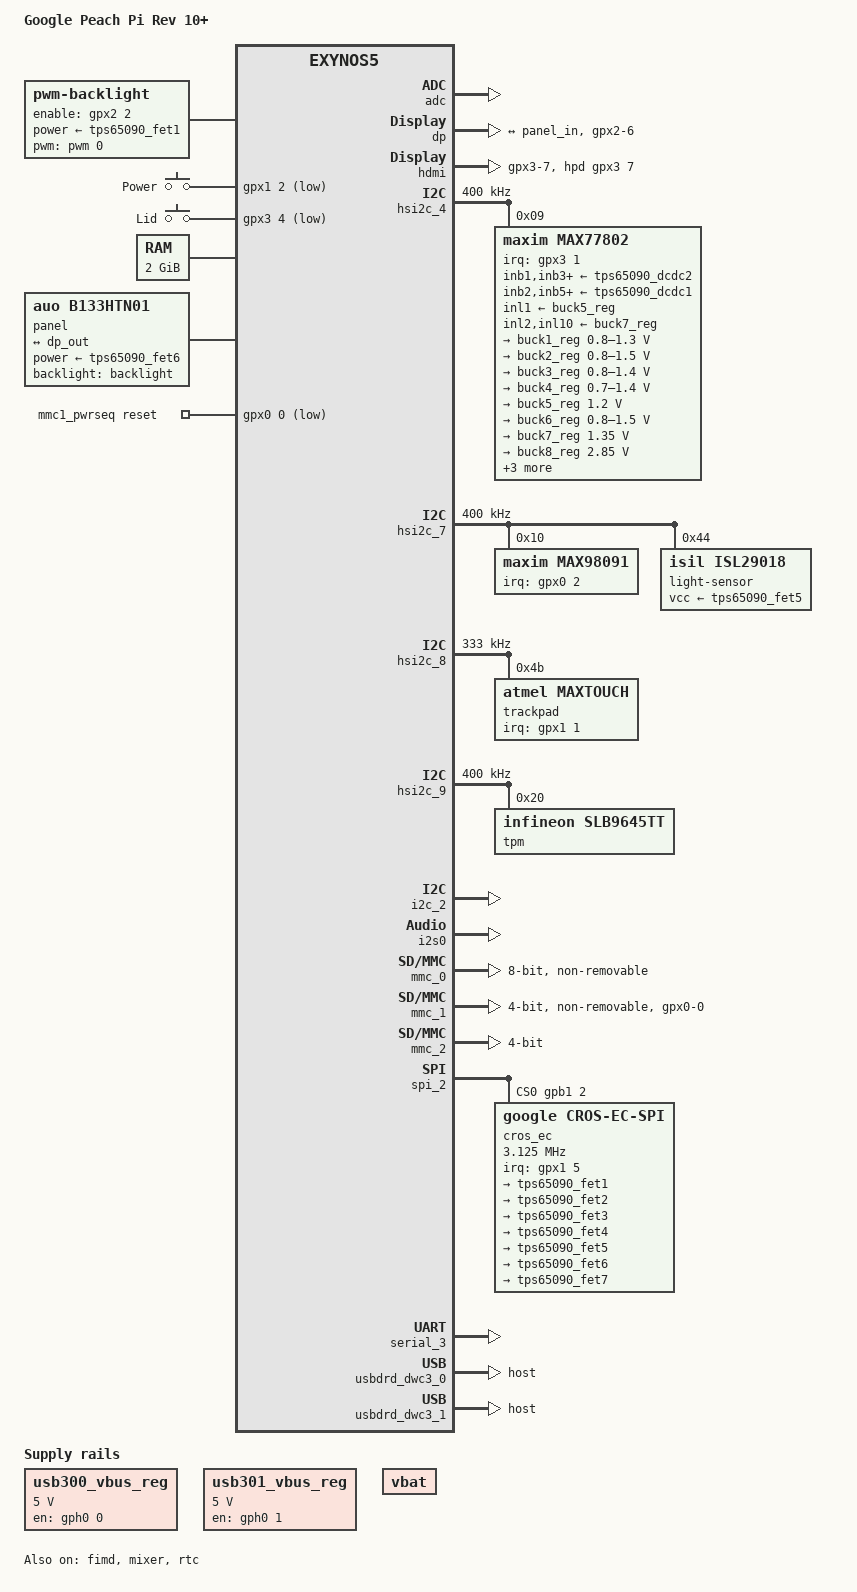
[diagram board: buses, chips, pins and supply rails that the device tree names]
// SPDX-License-Identifier: GPL-2.0
/*
 * Google Peach Pi Rev 10+ board device tree source
 *
 * Copyright (c) 2014 Google, Inc
 */

/dts-v1/;
#include <dt-bindings/input/input.h>
#include <dt-bindings/gpio/gpio.h>
#include <dt-bindings/interrupt-controller/irq.h>
#include <dt-bindings/clock/maxim,max77802.h>
#include <dt-bindings/regulator/maxim,max77802.h>
#include <dt-bindings/sound/samsung-i2s.h>
#include "exynos5800.dtsi"
#include "exynos5420-cpus.dtsi"

/ {
	model = "Google Peach Pi Rev 10+";

	compatible = "google,pi-rev16",
		"google,pi-rev15", "google,pi-rev14",
		"google,pi-rev13", "google,pi-rev12",
		"google,pi-rev11", "google,pi-rev10",
		"google,pi", "google,peach", "samsung,exynos5800",
		"samsung,exynos5";
	chassis-type = "laptop";

	aliases {
		/* Assign 20 so we don't get confused w/ builtin ones */
		i2c20 = &i2c_tunnel;
	};

	backlight: backlight {
		compatible = "pwm-backlight";
		pwms = <&pwm 0 1000000 0>;
		brightness-levels = <0 100 500 1000 1500 2000 2500 2800>;
		default-brightness-level = <7>;
		enable-gpios = <&gpx2 2 GPIO_ACTIVE_HIGH>;
		power-supply = <&tps65090_fet1>;
		pinctrl-0 = <&pwm0_out>;
		pinctrl-names = "default";
	};

	chosen {
		stdout-path = "serial3:115200n8";
	};

	fixed-rate-clocks {
		oscclk {
			compatible = "samsung,exynos5420-oscclk";
			clock-frequency = <24000000>;
		};
	};

	gpio-keys {
		compatible = "gpio-keys";

		pinctrl-names = "default";
		pinctrl-0 = <&power_key_irq &lid_irq>;

		power {
			label = "Power";
			gpios = <&gpx1 2 GPIO_ACTIVE_LOW>;
			linux,code = <KEY_POWER>;
			wakeup-source;
		};

		lid-switch {
			label = "Lid";
			gpios = <&gpx3 4 GPIO_ACTIVE_LOW>;
			linux,input-type = <5>; /* EV_SW */
			linux,code = <0>; /* SW_LID */
			debounce-interval = <1>;
			wakeup-source;
		};

	};

	memory@20000000 {
		device_type = "memory";
		reg = <0x20000000 0x80000000>;
	};

	sound {
		compatible = "google,snow-audio-max98091";

		samsung,model = "Peach-Pi-I2S-MAX98091";
		samsung,i2s-controller = <&i2s0>;
		samsung,audio-codec = <&max98091>;

		cpu {
			sound-dai = <&i2s0 0>;
		};

		codec {
			sound-dai = <&max98091>, <&hdmi>;
		};
	};

	usb300_vbus_reg: regulator-usb300 {
		compatible = "regulator-fixed";
		regulator-name = "P5.0V_USB3CON0";
		regulator-min-microvolt = <5000000>;
		regulator-max-microvolt = <5000000>;
		gpio = <&gph0 0 GPIO_ACTIVE_HIGH>;
		pinctrl-names = "default";
		pinctrl-0 = <&usb300_vbus_en>;
		enable-active-high;
	};

	usb301_vbus_reg: regulator-usb301 {
		compatible = "regulator-fixed";
		regulator-name = "P5.0V_USB3CON1";
		regulator-min-microvolt = <5000000>;
		regulator-max-microvolt = <5000000>;
		gpio = <&gph0 1 GPIO_ACTIVE_HIGH>;
		pinctrl-names = "default";
		pinctrl-0 = <&usb301_vbus_en>;
		enable-active-high;
	};

	vbat: fixed-regulator {
		compatible = "regulator-fixed";
		regulator-name = "vbat-supply";
		regulator-boot-on;
		regulator-always-on;
	};

	panel: panel {
		compatible = "auo,b133htn01";
		power-supply = <&tps65090_fet6>;
		backlight = <&backlight>;

		port {
			panel_in: endpoint {
				remote-endpoint = <&dp_out>;
			};
		};
	};

	mmc1_pwrseq: mmc1-pwrseq {
		compatible = "mmc-pwrseq-simple";
		reset-gpios = <&gpx0 0 GPIO_ACTIVE_LOW>; /* WIFI_EN */
		clocks = <&max77802 MAX77802_CLK_32K_CP>;
		clock-names = "ext_clock";
	};
};

&adc {
	status = "okay";
	vdd-supply = <&ldo9_reg>;
};

&clock_audss {
	assigned-clocks = <&clock_audss EXYNOS_MOUT_AUDSS>;
	assigned-clock-parents = <&clock CLK_MAU_EPLL>;
};

/*
 * Peach Pi board uses SoC revision with lower maximum frequency for A7 cores
 * (1.3 GHz instead of 1.4 GHz) than Odroid XU3/XU4 boards.  Thus we need to
 * update A7 OPPs table accordingly.
 */
&cluster_a7_opp_table {
	/delete-node/opp-1400000000;
};

&cpu0 {
	cpu-supply = <&buck2_reg>;
};

&cpu4 {
	cpu-supply = <&buck6_reg>;
};

&dp {
	status = "okay";
	pinctrl-names = "default";
	pinctrl-0 = <&dp_hpd_gpio>;
	samsung,color-space = <0>;
	samsung,color-depth = <1>;
	samsung,link-rate = <0x0a>;
	samsung,lane-count = <2>;
	samsung,hpd-gpio = <&gpx2 6 GPIO_ACTIVE_HIGH>;

	ports {
		port {
			dp_out: endpoint {
				remote-endpoint = <&panel_in>;
			};
		};
	};
};

&fimd {
	status = "okay";
	samsung,invert-vclk;
};

&hdmi {
	status = "okay";
	hpd-gpios = <&gpx3 7 GPIO_ACTIVE_HIGH>;
	pinctrl-names = "default";
	pinctrl-0 = <&hdmi_hpd_irq>;
	ddc = <&i2c_2>;

	hdmi-en-supply = <&tps65090_fet7>;
	vdd-supply = <&ldo8_reg>;
	vdd_osc-supply = <&ldo10_reg>;
	vdd_pll-supply = <&ldo8_reg>;
};

&hsi2c_4 {
	status = "okay";
	clock-frequency = <400000>;

	max77802: pmic@9 {
		compatible = "maxim,max77802";
		interrupt-parent = <&gpx3>;
		interrupts = <1 IRQ_TYPE_NONE>;
		pinctrl-names = "default";
		pinctrl-0 = <&max77802_irq>, <&pmic_selb>,
			    <&pmic_dvs_1>, <&pmic_dvs_2>;
		wakeup-source;
		reg = <0x9>;
		#clock-cells = <1>;

		inb1-supply = <&tps65090_dcdc2>;
		inb2-supply = <&tps65090_dcdc1>;
		inb3-supply = <&tps65090_dcdc2>;
		inb4-supply = <&tps65090_dcdc2>;
		inb5-supply = <&tps65090_dcdc1>;
		inb6-supply = <&tps65090_dcdc2>;
		inb7-supply = <&tps65090_dcdc1>;
		inb8-supply = <&tps65090_dcdc1>;
		inb9-supply = <&tps65090_dcdc1>;
		inb10-supply = <&tps65090_dcdc1>;

		inl1-supply = <&buck5_reg>;
		inl2-supply = <&buck7_reg>;
		inl3-supply = <&buck9_reg>;
		inl4-supply = <&buck9_reg>;
		inl5-supply = <&buck9_reg>;
		inl6-supply = <&tps65090_dcdc2>;
		inl7-supply = <&buck9_reg>;
		inl9-supply = <&tps65090_dcdc2>;
		inl10-supply = <&buck7_reg>;

		regulators {
			buck1_reg: BUCK1 {
				regulator-name = "vdd_mif";
				regulator-min-microvolt = <800000>;
				regulator-max-microvolt = <1300000>;
				regulator-always-on;
				regulator-boot-on;
				regulator-ramp-delay = <12500>;
				regulator-state-mem {
					regulator-off-in-suspend;
				};
			};

			buck2_reg: BUCK2 {
				regulator-name = "vdd_arm";
				regulator-min-microvolt = <800000>;
				regulator-max-microvolt = <1500000>;
				regulator-always-on;
				regulator-boot-on;
				regulator-ramp-delay = <12500>;
				regulator-coupled-with = <&buck3_reg>;
				regulator-coupled-max-spread = <300000>;
				regulator-state-mem {
					regulator-off-in-suspend;
				};
			};

			buck3_reg: BUCK3 {
				regulator-name = "vdd_int";
				regulator-min-microvolt = <800000>;
				regulator-max-microvolt = <1400000>;
				regulator-always-on;
				regulator-boot-on;
				regulator-ramp-delay = <12500>;
				regulator-coupled-with = <&buck2_reg>;
				regulator-coupled-max-spread = <300000>;
				regulator-state-mem {
					regulator-off-in-suspend;
				};
			};

			buck4_reg: BUCK4 {
				regulator-name = "vdd_g3d";
				regulator-min-microvolt = <700000>;
				regulator-max-microvolt = <1400000>;
				regulator-always-on;
				regulator-boot-on;
				regulator-ramp-delay = <12500>;
				regulator-state-mem {
					regulator-off-in-suspend;
				};
			};

			buck5_reg: BUCK5 {
				regulator-name = "vdd_1v2";
				regulator-min-microvolt = <1200000>;
				regulator-max-microvolt = <1200000>;
				regulator-boot-on;
				regulator-state-mem {
					regulator-off-in-suspend;
				};
			};

			buck6_reg: BUCK6 {
				regulator-name = "vdd_kfc";
				regulator-min-microvolt = <800000>;
				regulator-max-microvolt = <1500000>;
				regulator-always-on;
				regulator-boot-on;
				regulator-ramp-delay = <12500>;
				regulator-state-mem {
					regulator-off-in-suspend;
				};
			};

			buck7_reg: BUCK7 {
				regulator-name = "vdd_1v35";
				regulator-min-microvolt = <1350000>;
				regulator-max-microvolt = <1350000>;
				regulator-always-on;
				regulator-boot-on;
				regulator-state-mem {
					regulator-on-in-suspend;
				};
			};

			buck8_reg: BUCK8 {
				regulator-name = "vdd_emmc";
				regulator-min-microvolt = <2850000>;
				regulator-max-microvolt = <2850000>;
				regulator-always-on;
				regulator-boot-on;
				regulator-state-mem {
					regulator-off-in-suspend;
				};
			};

			buck9_reg: BUCK9 {
				regulator-name = "vdd_2v";
				regulator-min-microvolt = <2000000>;
				regulator-max-microvolt = <2000000>;
				regulator-always-on;
				regulator-boot-on;
				regulator-state-mem {
					regulator-on-in-suspend;
				};
			};

			buck10_reg: BUCK10 {
				regulator-name = "vdd_1v8";
				regulator-min-microvolt = <1800000>;
				regulator-max-microvolt = <1800000>;
				regulator-always-on;
				regulator-boot-on;
				regulator-state-mem {
					regulator-on-in-suspend;
				};
			};

			ldo1_reg: LDO1 {
				regulator-name = "vdd_1v0";
				regulator-min-microvolt = <1000000>;
				regulator-max-microvolt = <1000000>;
				regulator-always-on;
				regulator-state-mem {
					regulator-on-in-suspend;
					regulator-mode = <MAX77802_OPMODE_LP>;
				};
			};

			ldo2_reg: LDO2 {
				regulator-name = "vdd_1v2_2";
				regulator-min-microvolt = <1200000>;
				regulator-max-microvolt = <1200000>;
			};

			ldo3_reg: LDO3 {
				regulator-name = "vdd_1v8_3";
				regulator-min-microvolt = <1800000>;
				regulator-max-microvolt = <1800000>;
				regulator-always-on;
				regulator-state-mem {
					regulator-on-in-suspend;
					regulator-mode = <MAX77802_OPMODE_LP>;
				};
			};

			vqmmc_sdcard: ldo4_reg: LDO4 {
				regulator-name = "vdd_sd";
				regulator-min-microvolt = <1800000>;
				regulator-max-microvolt = <2800000>;
				regulator-always-on;
				regulator-state-mem {
					regulator-off-in-suspend;
				};
			};

			ldo5_reg: LDO5 {
				regulator-name = "vdd_1v8_5";
				regulator-min-microvolt = <1800000>;
				regulator-max-microvolt = <1800000>;
				regulator-always-on;
				regulator-state-mem {
					regulator-off-in-suspend;
				};
			};

			ldo6_reg: LDO6 {
				regulator-name = "vdd_1v8_6";
				regulator-min-microvolt = <1800000>;
				regulator-max-microvolt = <1800000>;
				regulator-always-on;
				regulator-state-mem {
					regulator-off-in-suspend;
				};
			};

			ldo7_reg: LDO7 {
				regulator-name = "vdd_1v8_7";
				regulator-min-microvolt = <1800000>;
				regulator-max-microvolt = <1800000>;
			};

			ldo8_reg: LDO8 {
				regulator-name = "vdd_ldo8";
				regulator-min-microvolt = <1000000>;
				regulator-max-microvolt = <1000000>;
				regulator-always-on;
				regulator-state-mem {
					regulator-off-in-suspend;
				};
			};

			ldo9_reg: LDO9 {
				regulator-name = "vdd_ldo9";
				regulator-min-microvolt = <1800000>;
				regulator-max-microvolt = <1800000>;
				regulator-state-mem {
					regulator-on-in-suspend;
					regulator-mode = <MAX77802_OPMODE_LP>;
				};
			};

			ldo10_reg: LDO10 {
				regulator-name = "vdd_ldo10";
				regulator-min-microvolt = <1800000>;
				regulator-max-microvolt = <1800000>;
				regulator-always-on;
				regulator-state-mem {
					regulator-off-in-suspend;
				};
			};

			ldo11_reg: LDO11 {
				regulator-name = "vdd_ldo11";
				regulator-min-microvolt = <1800000>;
				regulator-max-microvolt = <1800000>;
				regulator-always-on;
				regulator-state-mem {
					regulator-on-in-suspend;
					regulator-mode = <MAX77802_OPMODE_LP>;
				};
			};

			ldo12_reg: LDO12 {
				regulator-name = "vdd_ldo12";
				regulator-min-microvolt = <3000000>;
				regulator-max-microvolt = <3000000>;
				regulator-always-on;
				regulator-state-mem {
					regulator-off-in-suspend;
				};
			};

			ldo13_reg: LDO13 {
				regulator-name = "vdd_ldo13";
				regulator-min-microvolt = <1800000>;
				regulator-max-microvolt = <1800000>;
				regulator-always-on;
				regulator-state-mem {
					regulator-on-in-suspend;
					regulator-mode = <MAX77802_OPMODE_LP>;
				};
			};

			ldo14_reg: LDO14 {
				regulator-name = "vdd_ldo14";
				regulator-min-microvolt = <1800000>;
				regulator-max-microvolt = <1800000>;
				regulator-always-on;
				regulator-state-mem {
					regulator-off-in-suspend;
				};
			};

			ldo15_reg: LDO15 {
				regulator-name = "vdd_ldo15";
				regulator-min-microvolt = <1000000>;
				regulator-max-microvolt = <1000000>;
				regulator-always-on;
				regulator-state-mem {
					regulator-off-in-suspend;
				};
			};

			ldo17_reg: LDO17 {
				regulator-name = "vdd_g3ds";
				regulator-min-microvolt = <900000>;
				regulator-max-microvolt = <1400000>;
				regulator-always-on;
				regulator-state-mem {
					regulator-off-in-suspend;
				};
			};

			ldo18_reg: LDO18 {
				regulator-name = "ldo_18";
				regulator-min-microvolt = <1800000>;
				regulator-max-microvolt = <1800000>;
			};

			ldo19_reg: LDO19 {
				regulator-name = "ldo_19";
				regulator-min-microvolt = <1800000>;
				regulator-max-microvolt = <1800000>;
			};

			ldo20_reg: LDO20 {
				regulator-name = "ldo_20";
				regulator-min-microvolt = <1800000>;
				regulator-max-microvolt = <1800000>;
				regulator-always-on;
			};

			ldo21_reg: LDO21 {
				regulator-name = "ldo_21";
				regulator-min-microvolt = <2800000>;
				regulator-max-microvolt = <2800000>;
			};

			ldo23_reg: LDO23 {
				regulator-name = "ldo_23";
				regulator-min-microvolt = <3300000>;
				regulator-max-microvolt = <3300000>;
			};
			ldo24_reg: LDO24 {
				regulator-name = "ldo_24";
				regulator-min-microvolt = <2800000>;
				regulator-max-microvolt = <2800000>;
			};

			ldo25_reg: LDO25 {
				regulator-name = "ldo_25";
				regulator-min-microvolt = <3300000>;
				regulator-max-microvolt = <3300000>;
			};

			ldo26_reg: LDO26 {
				regulator-name = "ldo_26";
				regulator-min-microvolt = <1200000>;
				regulator-max-microvolt = <1200000>;
			};

			ldo27_reg: LDO27 {
				regulator-name = "ldo_27";
				regulator-min-microvolt = <1200000>;
				regulator-max-microvolt = <1200000>;
			};

			ldo28_reg: LDO28 {
				regulator-name = "ldo_28";
				regulator-min-microvolt = <1800000>;
				regulator-max-microvolt = <1800000>;
			};

			ldo29_reg: LDO29 {
				regulator-name = "ldo_29";
				regulator-min-microvolt = <1800000>;
				regulator-max-microvolt = <1800000>;
			};

			ldo30_reg: LDO30 {
				regulator-name = "vdd_mifs";
				regulator-min-microvolt = <1000000>;
				regulator-max-microvolt = <1000000>;
				regulator-always-on;
				regulator-state-mem {
					regulator-off-in-suspend;
				};
			};

			ldo32_reg: LDO32 {
				regulator-name = "ldo_32";
				regulator-min-microvolt = <3000000>;
				regulator-max-microvolt = <3000000>;
			};

			ldo33_reg: LDO33 {
				regulator-name = "ldo_33";
				regulator-min-microvolt = <2800000>;
				regulator-max-microvolt = <2800000>;
			};

			ldo34_reg: LDO34 {
				regulator-name = "ldo_34";
				regulator-min-microvolt = <3000000>;
				regulator-max-microvolt = <3000000>;
			};

			ldo35_reg: LDO35 {
				regulator-name = "ldo_35";
				regulator-min-microvolt = <1200000>;
				regulator-max-microvolt = <1200000>;
			};
		};
	};
};

&hsi2c_7 {
	status = "okay";
	clock-frequency = <400000>;

	max98091: codec@10 {
		compatible = "maxim,max98091";
		reg = <0x10>;
		interrupts = <2 IRQ_TYPE_NONE>;
		interrupt-parent = <&gpx0>;
		pinctrl-names = "default";
		pinctrl-0 = <&max98091_irq>;
		clocks = <&pmu_system_controller 0>;
		clock-names = "mclk";
		#sound-dai-cells = <0>;
	};

	light-sensor@44 {
		compatible = "isil,isl29018";
		reg = <0x44>;
		vcc-supply = <&tps65090_fet5>;
	};
};

&hsi2c_8 {
	status = "okay";
	clock-frequency = <333000>;
	/* Atmel mXT540S */
	trackpad@4b {
		compatible = "atmel,maxtouch";
		reg = <0x4b>;
		interrupt-parent = <&gpx1>;
		interrupts = <1 IRQ_TYPE_EDGE_FALLING>;
		wakeup-source;
		pinctrl-names = "default";
		pinctrl-0 = <&trackpad_irq>;
		linux,gpio-keymap = <KEY_RESERVED
				     KEY_RESERVED
				     KEY_RESERVED	/* GPIO 0 */
				     KEY_RESERVED	/* GPIO 1 */
				     BTN_LEFT		/* GPIO 2 */
				     KEY_RESERVED>;	/* GPIO 3 */
	};
};

&hsi2c_9 {
	status = "okay";
	clock-frequency = <400000>;

	tpm@20 {
		compatible = "infineon,slb9645tt";
		reg = <0x20>;

		/* Unused irq; but still need to configure the pins */
		pinctrl-names = "default";
		pinctrl-0 = <&tpm_irq>;
	};
};

&i2c_2 {
	status = "okay";
	samsung,i2c-sda-delay = <100>;
	samsung,i2c-max-bus-freq = <66000>;
	samsung,i2c-slave-addr = <0x50>;
};

&i2s0 {
	assigned-clocks = <&i2s0 CLK_I2S_RCLK_SRC>;
	assigned-clock-parents = <&clock_audss EXYNOS_I2S_BUS>;
	status = "okay";
};

&mixer {
	status = "okay";
};

/* eMMC flash */
&mmc_0 {
	status = "okay";
	mmc-hs200-1_8v;
	mmc-hs400-1_8v;
	cap-mmc-highspeed;
	non-removable;
	clock-frequency = <800000000>;
	samsung,dw-mshc-ciu-div = <3>;
	samsung,dw-mshc-sdr-timing = <0 4>;
	samsung,dw-mshc-ddr-timing = <0 2>;
	samsung,dw-mshc-hs400-timing = <0 2>;
	samsung,read-strobe-delay = <90>;
	pinctrl-names = "default";
	pinctrl-0 = <&sd0_clk &sd0_cmd &sd0_bus1 &sd0_bus4 &sd0_bus8 &sd0_rclk>;
	bus-width = <8>;
};

/* WiFi SDIO module */
&mmc_1 {
	status = "okay";
	non-removable;
	cap-sdio-irq;
	keep-power-in-suspend;
	clock-frequency = <400000000>;
	samsung,dw-mshc-ciu-div = <1>;
	samsung,dw-mshc-sdr-timing = <0 1>;
	samsung,dw-mshc-ddr-timing = <0 2>;
	pinctrl-names = "default";
	pinctrl-0 = <&sd1_clk>, <&sd1_cmd>, <&sd1_int>, <&sd1_bus1>,
		    <&sd1_bus4>, <&sd1_bus8>, <&wifi_en>;
	bus-width = <4>;
	cap-sd-highspeed;
	mmc-pwrseq = <&mmc1_pwrseq>;
	vqmmc-supply = <&buck10_reg>;
};

/* uSD card */
&mmc_2 {
	status = "okay";
	cap-sd-highspeed;
	card-detect-delay = <200>;
	clock-frequency = <400000000>;
	samsung,dw-mshc-ciu-div = <3>;
	samsung,dw-mshc-sdr-timing = <2 3>;
	samsung,dw-mshc-ddr-timing = <1 2>;
	pinctrl-names = "default";
	pinctrl-0 = <&sd2_clk &sd2_cmd &sd2_cd &sd2_bus1 &sd2_bus4>;
	bus-width = <4>;
};


&pinctrl_0 {
	pinctrl-names = "default";
	pinctrl-0 = <&mask_tpm_reset>;

	wifi_en: wifi-en-pins {
		samsung,pins = "gpx0-0";
		samsung,pin-function = <EXYNOS_PIN_FUNC_OUTPUT>;
		samsung,pin-pud = <EXYNOS_PIN_PULL_NONE>;
		samsung,pin-drv = <EXYNOS5420_PIN_DRV_LV1>;
	};

	max98091_irq: max98091-irq-pins {
		samsung,pins = "gpx0-2";
		samsung,pin-function = <EXYNOS_PIN_FUNC_INPUT>;
		samsung,pin-pud = <EXYNOS_PIN_PULL_NONE>;
		samsung,pin-drv = <EXYNOS5420_PIN_DRV_LV1>;
	};

	/* We need GPX0_6 to be low at sleep time; just keep it low always */
	mask_tpm_reset: mask-tpm-reset-pins {
		samsung,pins = "gpx0-6";
		samsung,pin-function = <EXYNOS_PIN_FUNC_OUTPUT>;
		samsung,pin-pud = <EXYNOS_PIN_PULL_NONE>;
		samsung,pin-drv = <EXYNOS5420_PIN_DRV_LV1>;
		samsung,pin-val = <0>;
	};

	tpm_irq: tpm-irq-pins {
		samsung,pins = "gpx1-0";
		samsung,pin-function = <EXYNOS_PIN_FUNC_INPUT>;
		samsung,pin-pud = <EXYNOS_PIN_PULL_NONE>;
		samsung,pin-drv = <EXYNOS5420_PIN_DRV_LV1>;
	};

	trackpad_irq: trackpad-irq-pins {
		samsung,pins = "gpx1-1";
		samsung,pin-function = <EXYNOS_PIN_FUNC_F>;
		samsung,pin-pud = <EXYNOS_PIN_PULL_NONE>;
		samsung,pin-drv = <EXYNOS5420_PIN_DRV_LV1>;
	};

	power_key_irq: power-key-irq-pins {
		samsung,pins = "gpx1-2";
		samsung,pin-function = <EXYNOS_PIN_FUNC_INPUT>;
		samsung,pin-pud = <EXYNOS_PIN_PULL_NONE>;
		samsung,pin-drv = <EXYNOS5420_PIN_DRV_LV1>;
	};

	ec_irq: ec-irq-pins {
		samsung,pins = "gpx1-5";
		samsung,pin-function = <EXYNOS_PIN_FUNC_INPUT>;
		samsung,pin-pud = <EXYNOS_PIN_PULL_NONE>;
		samsung,pin-drv = <EXYNOS5420_PIN_DRV_LV1>;
	};

	tps65090_irq: tps65090-irq-pins {
		samsung,pins = "gpx2-5";
		samsung,pin-function = <EXYNOS_PIN_FUNC_INPUT>;
		samsung,pin-pud = <EXYNOS_PIN_PULL_NONE>;
		samsung,pin-drv = <EXYNOS5420_PIN_DRV_LV1>;
	};

	dp_hpd_gpio: dp-hpd-gpio-pins {
		samsung,pins = "gpx2-6";
		samsung,pin-function = <EXYNOS_PIN_FUNC_INPUT>;
		samsung,pin-pud = <EXYNOS_PIN_PULL_UP>;
		samsung,pin-drv = <EXYNOS5420_PIN_DRV_LV1>;
	};

	max77802_irq: max77802-irq-pins {
		samsung,pins = "gpx3-1";
		samsung,pin-function = <EXYNOS_PIN_FUNC_INPUT>;
		samsung,pin-pud = <EXYNOS_PIN_PULL_NONE>;
		samsung,pin-drv = <EXYNOS5420_PIN_DRV_LV1>;
	};

	lid_irq: lid-irq-pins {
		samsung,pins = "gpx3-4";
		samsung,pin-function = <EXYNOS_PIN_FUNC_F>;
		samsung,pin-pud = <EXYNOS_PIN_PULL_NONE>;
		samsung,pin-drv = <EXYNOS5420_PIN_DRV_LV1>;
	};

	hdmi_hpd_irq: hdmi-hpd-irq-pins {
		samsung,pins = "gpx3-7";
		samsung,pin-function = <EXYNOS_PIN_FUNC_INPUT>;
		samsung,pin-pud = <EXYNOS_PIN_PULL_DOWN>;
		samsung,pin-drv = <EXYNOS5420_PIN_DRV_LV1>;
	};

	pmic_dvs_1: pmic-dvs-1-pins {
		samsung,pins = "gpy7-6";
		samsung,pin-function = <EXYNOS_PIN_FUNC_OUTPUT>;
		samsung,pin-pud = <EXYNOS_PIN_PULL_NONE>;
		samsung,pin-drv = <EXYNOS5420_PIN_DRV_LV1>;
	};
};

/* pinctrl_1 */
/* Adjust WiFi drive strengths lower for EMI */
&sd1_bus1 {
	samsung,pin-drv = <EXYNOS5420_PIN_DRV_LV3>;
};

&sd1_bus4 {
	samsung,pin-drv = <EXYNOS5420_PIN_DRV_LV3>;
};

&sd1_bus8 {
	samsung,pin-drv = <EXYNOS5420_PIN_DRV_LV3>;
};

&sd1_clk {
	samsung,pin-drv = <EXYNOS5420_PIN_DRV_LV3>;
};

&sd1_cmd {
	samsung,pin-drv = <EXYNOS5420_PIN_DRV_LV3>;
};

&pinctrl_2 {
	pmic_dvs_2: pmic-dvs-2-pins {
		samsung,pins = "gpj4-2", "gpj4-3";
		samsung,pin-function = <EXYNOS_PIN_FUNC_OUTPUT>;
		samsung,pin-pud = <EXYNOS_PIN_PULL_NONE>;
		samsung,pin-drv = <EXYNOS5420_PIN_DRV_LV1>;
	};
};

/* pinctrl_3*/
/* Drive SPI lines at x2 for better integrity */
&spi2_bus {
	samsung,pin-drv = <EXYNOS5420_PIN_DRV_LV3>;
};

&pinctrl_3 {
	/* Drive SPI chip select at x2 for better integrity */
	ec_spi_cs: ec-spi-cs-pins {
		samsung,pins = "gpb1-2";
		samsung,pin-function = <EXYNOS_PIN_FUNC_OUTPUT>;
		samsung,pin-pud = <EXYNOS_PIN_PULL_NONE>;
		samsung,pin-drv = <EXYNOS5420_PIN_DRV_LV3>;
	};

	usb300_vbus_en: usb300-vbus-en-pins {
		samsung,pins = "gph0-0";
		samsung,pin-function = <EXYNOS_PIN_FUNC_OUTPUT>;
		samsung,pin-pud = <EXYNOS_PIN_PULL_NONE>;
		samsung,pin-drv = <EXYNOS5420_PIN_DRV_LV1>;
	};

	usb301_vbus_en: usb301-vbus-en-pins {
		samsung,pins = "gph0-1";
		samsung,pin-function = <EXYNOS_PIN_FUNC_OUTPUT>;
		samsung,pin-pud = <EXYNOS_PIN_PULL_NONE>;
		samsung,pin-drv = <EXYNOS5420_PIN_DRV_LV1>;
	};

	pmic_selb: pmic-selb-pins {
		samsung,pins = "gph0-2", "gph0-3", "gph0-4", "gph0-5",
			       "gph0-6";
		samsung,pin-function = <EXYNOS_PIN_FUNC_OUTPUT>;
		samsung,pin-pud = <EXYNOS_PIN_PULL_NONE>;
		samsung,pin-drv = <EXYNOS5420_PIN_DRV_LV1>;
	};
};

&pmu_system_controller {
	assigned-clocks = <&pmu_system_controller 0>;
	assigned-clock-parents = <&clock CLK_FIN_PLL>;
};

&rtc {
	status = "okay";
	clocks = <&clock CLK_RTC>, <&max77802 MAX77802_CLK_32K_AP>;
	clock-names = "rtc", "rtc_src";
};

&spi_2 {
	status = "okay";
	num-cs = <1>;
	samsung,spi-src-clk = <0>;
	cs-gpios = <&gpb1 2 GPIO_ACTIVE_HIGH>;

	cros_ec: cros-ec@0 {
		compatible = "google,cros-ec-spi";
		interrupt-parent = <&gpx1>;
		interrupts = <5 IRQ_TYPE_NONE>;
		pinctrl-names = "default";
		pinctrl-0 = <&ec_spi_cs &ec_irq>;
		reg = <0>;
		spi-max-frequency = <3125000>;
		google,has-vbc-nvram;

		controller-data {
			samsung,spi-feedback-delay = <1>;
		};

		i2c_tunnel: i2c-tunnel {
			compatible = "google,cros-ec-i2c-tunnel";
			#address-cells = <1>;
			#size-cells = <0>;
			google,remote-bus = <0>;

			battery: sbs-battery@b {
				compatible = "sbs,sbs-battery";
				reg = <0xb>;
				sbs,poll-retry-count = <1>;
				sbs,i2c-retry-count = <2>;
			};

			power-regulator@48 {
				compatible = "ti,tps65090";
				reg = <0x48>;

				/*
				 * Config irq to disable internal pulls
				 * even though we run in polling mode.
				 */
				pinctrl-names = "default";
				pinctrl-0 = <&tps65090_irq>;

				vsys1-supply = <&vbat>;
				vsys2-supply = <&vbat>;
				vsys3-supply = <&vbat>;
				infet1-supply = <&vbat>;
				infet2-supply = <&tps65090_dcdc1>;
				infet3-supply = <&tps65090_dcdc2>;
				infet4-supply = <&tps65090_dcdc2>;
				infet5-supply = <&tps65090_dcdc2>;
				infet6-supply = <&tps65090_dcdc2>;
				infet7-supply = <&tps65090_dcdc1>;
				vsys-l1-supply = <&vbat>;
				vsys-l2-supply = <&vbat>;

				regulators {
					tps65090_dcdc1: dcdc1 {
						ti,enable-ext-control;
					};
					tps65090_dcdc2: dcdc2 {
						ti,enable-ext-control;
					};
					tps65090_dcdc3: dcdc3 {
						ti,enable-ext-control;
					};
					tps65090_fet1: fet1 {
						regulator-name = "vcd_led";
					};
					tps65090_fet2: fet2 {
						regulator-name = "video_mid";
						regulator-always-on;
					};
					tps65090_fet3: fet3 {
						regulator-name = "wwan_r";
						regulator-always-on;
					};
					tps65090_fet4: fet4 {
						regulator-name = "sdcard";
						regulator-always-on;
					};
					tps65090_fet5: fet5 {
						regulator-name = "camout";
						regulator-always-on;
					};
					tps65090_fet6: fet6 {
						regulator-name = "lcd_vdd";
					};
					tps65090_fet7: fet7 {
						regulator-name = "video_mid_1a";
						regulator-always-on;
					};
					tps65090_ldo1: ldo1 {
					};
					tps65090_ldo2: ldo2 {
					};
				};

				charger {
					compatible = "ti,tps65090-charger";
				};
			};
		};
	};
};

&serial_3 {
	status = "okay";
};

&timer {
	arm,cpu-registers-not-fw-configured;
};

&tmu_cpu0 {
	vtmu-supply = <&ldo10_reg>;
};

&tmu_cpu1 {
	vtmu-supply = <&ldo10_reg>;
};

&tmu_cpu2 {
	vtmu-supply = <&ldo10_reg>;
};

&tmu_cpu3 {
	vtmu-supply = <&ldo10_reg>;
};

&tmu_gpu {
	vtmu-supply = <&ldo10_reg>;
};

&usbdrd3_0 {
	vdd10-supply = <&ldo15_reg>;
	vdd33-supply = <&ldo12_reg>;
};

&usbdrd3_1 {
	vdd10-supply = <&ldo15_reg>;
	vdd33-supply = <&ldo12_reg>;
};

&usbdrd_dwc3_0 {
	dr_mode = "host";
};

&usbdrd_dwc3_1 {
	dr_mode = "host";
};

&usbdrd_phy0 {
	vbus-supply = <&usb300_vbus_reg>;
};

&usbdrd_phy1 {
	vbus-supply = <&usb301_vbus_reg>;
};

/*
 * Use longest HW watchdog in SoC (32 seconds) since the hardware
 * watchdog provides no debugging information (compared to soft/hard
 * lockup detectors) and so should be last resort.
 */
&watchdog {
	timeout-sec = <32>;
};

#include "cros-ec-keyboard.dtsi"
#include "cros-adc-thermistors.dtsi"
